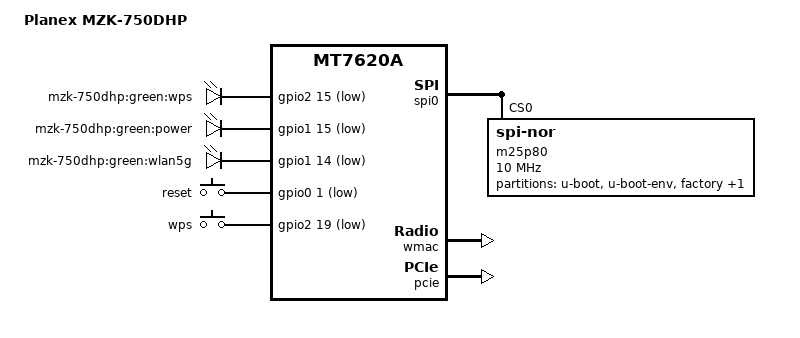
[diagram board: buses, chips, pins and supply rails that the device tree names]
/dts-v1/;

#include "mt7620a.dtsi"

/ {
	compatible = "ralink,mt7620a-soc";
	model = "Planex MZK-750DHP";

	gpio-leds {
		compatible = "gpio-leds";

		wps {
			label = "mzk-750dhp:green:wps";
			gpios = <&gpio2 15 1>;
		};

		power {
			label = "mzk-750dhp:green:power";
			gpios = <&gpio1 15 1>;
		};

		wlan5g {
			label = "mzk-750dhp:green:wlan5g";
			gpios = <&gpio1 14 1>;
		};
	};

	gpio-keys-polled {
		compatible = "gpio-keys-polled";
		#address-cells = <1>;
		#size-cells = <0>;
		poll-interval = <20>;

		s1 {
			label = "reset";
			gpios = <&gpio0 1 1>;
			linux,code = <0x198>;
		};

		s2 {
			label = "wps";
			gpios = <&gpio2 19 1>;
			linux,code = <0x211>;
		};
	};
};

&gpio1 {
	status = "okay";
};

&gpio2 {
	status = "okay";
};

&spi0 {
	status = "okay";

	m25p80@0 {
		#address-cells = <1>;
		#size-cells = <1>;
		compatible = "jedec,spi-nor";
		reg = <0>;
		linux,modalias = "m25p80", "mx25l6405d";
		spi-max-frequency = <10000000>;

		partition@0 {
			label = "u-boot";
			reg = <0x0 0x30000>;
			read-only;
		};

		partition@30000 {
			label = "u-boot-env";
			reg = <0x30000 0x10000>;
			read-only;
		};

		factory: partition@40000 {
			label = "factory";
			reg = <0x40000 0x10000>;
			read-only;
		};

		partition@50000 {
			label = "firmware";
			reg = <0x50000 0x7b0000>;
		};
	};
};

&pinctrl {
	state_default: pinctrl0 {
		gpio {
			ralink,group = "i2c", "spi refclk", "rgmii1", "nd_sd";
			ralink,function = "gpio";
		};
	};
};

&ethernet {
	pinctrl-names = "default";
	pinctrl-0 = <&ephy_pins>;
	mtd-mac-address = <&factory 0x4>;
	mediatek,portmap = "llllw";
};

&gsw {
	mediatek,port4 = "ephy";
};

&wmac {
	ralink,mtd-eeprom = <&factory 0>;
};

&pcie {
	status = "okay";

	pcie-bridge {
		mt76@0,0 {
			reg = <0x0000 0 0 0 0>;
			device_type = "pci";
			mediatek,mtd-eeprom = <&factory 0x8000>;
			mediatek,2ghz = <0>;
		};
	};
};
